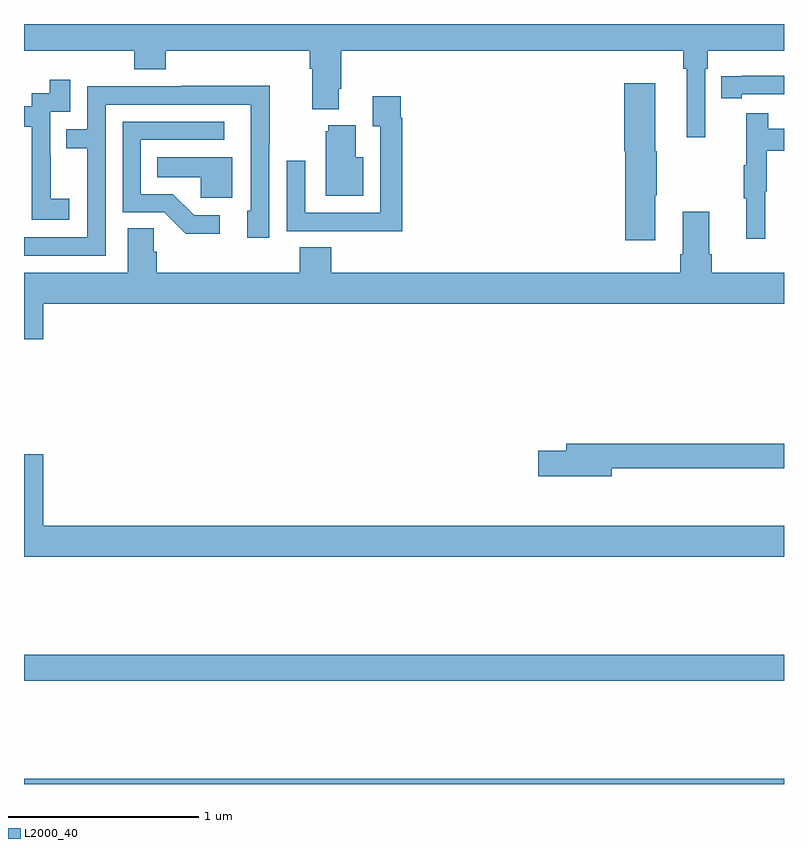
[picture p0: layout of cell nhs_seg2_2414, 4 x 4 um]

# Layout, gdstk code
import gdstk
lib = gdstk.Library(unit=1e-6, precision=1e-09)
def R(c, l, rs):  # rectangles x0, y0, x1, y1
    for r in rs: c.add(gdstk.rectangle(r[:2], r[2:], *l))
def P(c, l, *ps):  # polygons
    for p in ps: c.add(gdstk.Polygon(p, *l))
L2000_40 = (2000, 40)

nhs_seg2_2414 = lib.new_cell('nhs_seg2_2414')
R(nhs_seg2_2414, L2000_40, [(237,619.8,241,619.828), (237,620.344,241,620.48)])
P(nhs_seg2_2414, L2000_40, [(240.585,623.564),(240.599,623.564),(240.599,623.66),(241,623.66),(241,623.8),(237,623.8),(237,623.66),(237.581,623.66),(237.581,623.561),(237.746,623.561),(237.746,623.66),(238.505,623.66),(238.505,623.564),(238.517,623.564),(238.517,623.351),(238.657,623.351),(238.657,623.458),(238.67,623.458),(238.67,623.66),(240.469,623.66),(240.469,623.564),(240.488,623.564),(240.488,623.205),(240.585,623.205)],
  [(240.778,623.43),(241,623.43),(241,623.527),(240.778,623.527),(240.778,623.526),(240.67,623.526),(240.67,623.41),(240.778,623.41)],
  [(237.238,622.879),(237.14,622.879),(237.14,623.108),(237.138,623.108),(237.138,623.337),(237.243,623.337),(237.243,623.506),(237.135,623.506),(237.135,623.436),(237.042,623.436),(237.042,623.367),(237,623.367),(237,623.259),(237.041,623.259),(237.041,622.975),(237.04,622.975),(237.04,622.769),(237.238,622.769)],
  [(240.322,622.9),(240.33,622.9),(240.33,623.13),(240.322,623.13),(240.322,623.488),(240.158,623.488),(240.158,623.13),(240.164,623.13),(240.164,622.662),(240.322,622.662)],
  [(237.429,623.376),(238.193,623.376),(238.193,623.143),(238.194,623.143),(238.194,622.818),(238.175,622.818),(238.175,622.674),(238.29,622.674),(238.29,623.167),(238.293,623.167),(238.293,623.474),(237.829,623.474),(237.829,623.472),(237.333,623.472),(237.333,623.247),(237.223,623.247),(237.223,623.146),(237.333,623.146),(237.333,622.677),(237,622.677),(237,622.581),(237.429,622.581)],
  [(238.991,623.306),(238.984,623.306),(238.984,623.419),(238.835,623.419),(238.835,623.263),(238.875,623.263),(238.875,622.806),(238.479,622.806),(238.479,623.08),(238.383,623.08),(238.383,622.71),(238.699,622.71),(238.699,622.709),(238.991,622.709)],
  [(240.902,622.92),(240.91,622.92),(240.91,623.134),(241,623.134),(241,623.25),(240.917,623.25),(240.917,623.329),(240.8,623.329),(240.8,623.057),(240.789,623.057),(240.789,622.883),(240.8,622.883),(240.8,622.671),(240.902,622.671)],
  [(238.03,622.794),(237.895,622.794),(237.784,622.905),(237.615,622.905),(237.615,623.19),(238.054,623.19),(238.054,623.286),(237.519,623.286),(237.519,622.809),(237.738,622.809),(237.851,622.697),(238.03,622.697)],
  [(238.786,623.098),(238.747,623.098),(238.747,623.266),(238.601,623.266),(238.601,623.235),(238.589,623.235),(238.589,622.895),(238.786,622.895)],
  [(238.096,623.098),(237.7,623.098),(237.7,622.994),(237.931,622.994),(237.931,622.886),(238.096,622.886)],
  [(237.1,622.328),(241,622.328),(241,622.492),(240.62,622.492),(240.62,622.588),(240.607,622.588),(240.607,622.813),(240.467,622.813),(240.467,622.588),(240.455,622.588),(240.455,622.492),(238.616,622.492),(238.616,622.625),(238.451,622.625),(238.451,622.492),(237.698,622.492),(237.698,622.601),(237.684,622.601),(237.684,622.724),(237.545,622.724),(237.545,622.492),(237,622.492),(237,622.14),(237.1,622.14)],
  [(240.094,621.462),(241,621.462),(241,621.59),(239.855,621.59),(239.855,621.554),(239.706,621.554),(239.706,621.419),(240.094,621.419)],
  [(241,621.16),(237.1,621.16),(237.1,621.535),(237,621.535),(237,620.996),(241,620.996)])

lib.write_gds('nhs_seg2_2414.gds')
